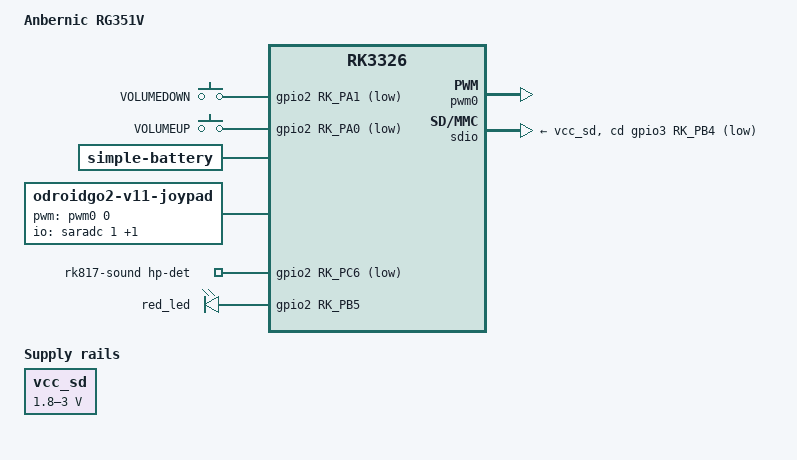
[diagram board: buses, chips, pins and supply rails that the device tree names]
// SPDX-License-Identifier: (GPL-2.0+ OR MIT)
/*
 * Copyright (c) 2019 Hardkernel Co., Ltd
 * Copyright (c) 2020 Theobroma Systems Design und Consulting GmbH
 * Copyright (c) 2022 Maya Matuszczyk <maccraft123mc@gmail.com>
 */

/dts-v1/;
#include "rk3326-odroid-go.dtsi"

/ {
	model = "Anbernic RG351V";
	compatible = "anbernic,rg351v", "rockchip,rk3326";

       aliases {
               mmc0 = &sdio;
               mmc1 = &sdmmc;
       };

        gpio-keys-vol {
                compatible = "gpio-keys";
                autorepeat;
                pinctrl-0 = <&btn_pins_vol>;
                pinctrl-names = "default";

                button-vol-down {
                        gpios = <&gpio2 RK_PA1 GPIO_ACTIVE_LOW>;
                        label = "VOLUMEDOWN";
                        linux,code = <KEY_VOLUMEDOWN>;
                };

                button-volume-up {
                        gpios = <&gpio2 RK_PA0 GPIO_ACTIVE_LOW>;
                        label = "VOLUMEUP";
                        linux,code = <KEY_VOLUMEUP>;
                };
        };

        battery: battery {
               compatible = "simple-battery";
               charge-full-design-microamp-hours = <3500000>;
               charge-term-current-microamp = <350000>;
               constant-charge-current-max-microamp = <2000000>;
               constant-charge-voltage-max-microvolt = <4200000>;
               factory-internal-resistance-micro-ohms = <180000>;
               voltage-max-design-microvolt = <4100000>;
               voltage-min-design-microvolt = <3500000>;

               ocv-capacity-celsius = <20>;
               ocv-capacity-table-0 =  <4046950 100>, <4001920 95>, <3967900 90>, <3919950 85>,
                                       <3888450 80>, <3861850 75>, <3831540 70>, <3799130 65>,
                                       <3768190 60>, <3745650 55>, <3726610 50>, <3711630 45>,
                                       <3696720 40>, <3685660 35>, <3674950 30>, <3663050 25>,
                                       <3649470 20>, <3635260 15>, <3616920 10>, <3592440 5>,
                                       <3574170 0>;
       };

	/* batocera - in-kernel joypad, its pwm0 rumble replaces pwm-vibrator */
	joypad: odroidgo2-joypad {
		compatible = "odroidgo2-v11-joypad";

		/* Added PWM for rumble support with this driver */
		pwms = <&pwm0 0 200000000 0>;		 
		pwm-names = "enable";

		/*
		  - odroidgo2-joypad sysfs list -
		   * for poll device interval(ms)
		   /sys/devices/platform/odroidgo2_joypad/poll_interval [rw]
		   * for button-adc-fuzz
		   /sys/devices/platform/odroidgo2_joypad/adc_fuzz [r]
		   * for button-adc-flat
		   /sys/devices/platform/odroidgo2_joypad/adc_flat [r]
		   * for report control(1:enable, 0:disable)
		   /sys/devices/platform/odroidgo2_joypad/enable [rw]
		   * for adc calibration value setup(1:current adcs value -> cal value)
		   /sys/devices/platform/odroidgo2_joypad/adc_cal [rw]
		*/

		/* gpio pincontrol setup */
		pinctrl-names = "default";
		pinctrl-0 = <&btn_pins>;
		pinctrl-1 = <&pwm0_pin>;

		/* JOY_X, JOY_Y Channel define */
		io-channel-names = "joy_x", "joy_y";
		io-channels = <&saradc 1>, <&saradc 2>;

		/* adc channel count */
		button-adc-count = <2>;

		/* adc calculate scale */
		button-adc-scale = <2>;

		/* adc deadzone range  */
		button-adc-deadzone = <20>;

		/*
		    joy-stick voltage range
		    /sys/devices/platform/ff288000.saradc/iio:device0
		    adc-x : in_voltage1_raw
		    adc-y : in_voltage2_raw

		    range calculate.
		    (adc raw max value - adc raw min value) * scale * 1.7515
		*/
		button-adc-x-range = <1800>;
		button-adc-y-range = <1800>;

		/*
		  specifies fuzz value that is used to filter noise from
		  the event stream.
		*/
		button-adc-fuzz = <32>;
		button-adc-flat = <32>;

		/* poll device interval (ms), adc read interval */
		poll-interval = <10>;

		/* gpio button auto repeat set value : default disable */
		/*
			autorepeat;
		*/

		/*
		    joypad driver is poll-device driver.
		    poll-device is does not support wakeup-source.
		*/
		sw1 {
			gpios = <&gpio1 RK_PB4 GPIO_ACTIVE_LOW>;
			label = "GPIO DPAD-UP";
			linux,code = <BTN_DPAD_UP>; // 0x220
		};
		sw2 {
			gpios = <&gpio1 RK_PB5 GPIO_ACTIVE_LOW>;
			label = "GPIO DPAD-DOWN";
			linux,code = <BTN_DPAD_DOWN>; // 0x221
		};
		sw3 {
			gpios = <&gpio1 RK_PB6 GPIO_ACTIVE_LOW>;
			label = "GPIO DPAD-LEFT";
			linux,code = <BTN_DPAD_LEFT>; // 0x222
		};
		sw4 {
			gpios = <&gpio1 RK_PB7 GPIO_ACTIVE_LOW>;
			label = "GPIO DPAD-RIGHT";
			linux,code = <BTN_DPAD_RIGHT>; // 0x223
		};
		sw5 {
			gpios = <&gpio1 RK_PA2 GPIO_ACTIVE_LOW>;
			label = "GPIO KEY BTN-A";
			linux,code = <BTN_EAST>; // 0x131
		};
		sw6 {
			gpios = <&gpio1 RK_PA5 GPIO_ACTIVE_LOW>;
			label = "GPIO BTN-B";
			linux,code = <BTN_SOUTH>; // 0x130
		};
		sw7 {
			gpios = <&gpio1 RK_PA6 GPIO_ACTIVE_LOW>;
			label = "GPIO BTN-Y";
			linux,code = <BTN_WEST>; // 0x134
		};
		sw8 {
			gpios = <&gpio1 RK_PA7 GPIO_ACTIVE_LOW>;
			label = "GPIO BTN-X";
			linux,code = <BTN_NORTH>; // 0x133
		};
		sw9 {
			gpios = <&gpio3 RK_PB1 GPIO_ACTIVE_LOW>;
			label = "GPIO BTN-SELECT";
			linux,code = <BTN_SELECT>; // 0x2c0
		};
		sw10 {
			gpios = <&gpio2 RK_PA2 GPIO_ACTIVE_LOW>;
			label = "GPIO BTN-THUMBL";
			linux,code = <BTN_THUMBL>; // 0x2c1
		};
		sw13 {
			gpios = <&gpio2 RK_PA4 GPIO_ACTIVE_LOW>;
			label = "GPIO BTN-MODE";
			linux,code = <BTN_MODE>; // 0x2c4
		};
		sw14 {
			gpios = <&gpio2 RK_PA5 GPIO_ACTIVE_LOW>;
			label = "GPIO BTN-START";
			linux,code = <BTN_START>; // 0x13c
		};
		sw15 {
			gpios = <&gpio2 RK_PA6 GPIO_ACTIVE_LOW>;
			label = "GPIO TOP-LEFT";
			linux,code = <BTN_TL>; // 0x02
		};
		sw16 {
			gpios = <&gpio2 RK_PA7 GPIO_ACTIVE_LOW>;
			label = "GPIO TOP-RIGHT";
			linux,code = <BTN_TR>; // 0x05
		};
		sw20 {
			gpios = <&gpio3 RK_PB2 GPIO_ACTIVE_LOW>;
			label = "GPIO TOP-LEFT2";
			linux,code = <BTN_TL2>;
		};
		sw21 {
			gpios = <&gpio3 RK_PB7 GPIO_ACTIVE_LOW>;
			label = "GPIO TOP-RIGHT2";
			linux,code = <BTN_TR2>;
		};
	};
};

/* conflicts with pwm vibration motor */
/delete-node/ &vcc_host;

&red_led {
	gpios = <&gpio2 RK_PB5 GPIO_ACTIVE_HIGH>;
};

&red_led_pin {
	rockchip,pins = <2 RK_PB5 RK_FUNC_GPIO &pcfg_pull_none>;
};

&internal_display {
	compatible = "anbernic,rg351v-panel", "newvision,nv3051d";
	iovcc-supply = <&vcc_lcd>;
	vdd-supply = <&vcc_lcd>;
};

&io_domains {
	vccio1-supply = <&vccio_sd>;
};

/delete-node/ &pwm_led;

&pwm0 {
	status = "okay";
};

/delete-node/ &pwm3;

&rk817_charger {
       /* This device does not have a current sense resistor */
       rockchip,resistor-sense-micro-ohms = <0>;
       monitored-battery = <&battery>;
};

&sdio {
	cap-sd-highspeed;
	card-detect-delay = <200>;
	cd-gpios = <&gpio3 RK_PB4 GPIO_ACTIVE_LOW>; /*[> CD GPIO <]*/
	sd-uhs-sdr12;
	sd-uhs-sdr25;
	sd-uhs-sdr50;
	sd-uhs-sdr104;
	vmmc-supply = <&vcc_sd>;
	vqmmc-supply = <&vccio_sd>;
	status = "okay";
};

&vcc_sd {
	regulator-max-microvolt = <3000000>;
	regulator-min-microvolt = <1800000>;
};

&vccio_sd {
	regulator-max-microvolt = <1800000>;
};

&pinctrl {
        btns {
		/* batocera - joypad pins */
		btn_pins: btn-pins {
			rockchip,pins = <1 RK_PB4 RK_FUNC_GPIO &pcfg_pull_up>,
					<1 RK_PB5 RK_FUNC_GPIO &pcfg_pull_up>,
					<1 RK_PB6 RK_FUNC_GPIO &pcfg_pull_up>,
					<1 RK_PB7 RK_FUNC_GPIO &pcfg_pull_up>,
					<1 RK_PA2 RK_FUNC_GPIO &pcfg_pull_up>,
					<1 RK_PA5 RK_FUNC_GPIO &pcfg_pull_up>,
					<1 RK_PA6 RK_FUNC_GPIO &pcfg_pull_up>,
					<1 RK_PA7 RK_FUNC_GPIO &pcfg_pull_up>,
					<2 RK_PA2 RK_FUNC_GPIO &pcfg_pull_up>,
					<2 RK_PA4 RK_FUNC_GPIO &pcfg_pull_up>,
					<2 RK_PA5 RK_FUNC_GPIO &pcfg_pull_up>,
					<2 RK_PA6 RK_FUNC_GPIO &pcfg_pull_up>,
					<2 RK_PA7 RK_FUNC_GPIO &pcfg_pull_up>,
					<3 RK_PB1 RK_FUNC_GPIO &pcfg_pull_up>,
					<3 RK_PB2 RK_FUNC_GPIO &pcfg_pull_up>,
					<3 RK_PB7 RK_FUNC_GPIO &pcfg_pull_up>;
		};
                btn_pins_vol: btn-pins-vol {
                        rockchip,pins = <2 RK_PA0 RK_FUNC_GPIO &pcfg_pull_up>,
                                        <2 RK_PA1 RK_FUNC_GPIO &pcfg_pull_up>;
                };
        };
};

&rk817 {
	regulators {
		vcc_wifi: LDO_REG9 {
			regulator-name = "vcc_wifi";
			regulator-min-microvolt = <3300000>;
			regulator-max-microvolt = <3300000>;
			regulator-always-on;

			regulator-state-mem {
				regulator-off-in-suspend;
				regulator-suspend-microvolt = <3300000>;
			};
		};
	};
};

/* batocera - headphone detect is active low */
/delete-node/ &{/rk817-sound};

/ {
	rk817-sound {
		compatible = "simple-audio-card";
		simple-audio-card,name = "rk817_int";
		simple-audio-card,format = "i2s";
		simple-audio-card,hp-det-gpios = <&gpio2 RK_PC6 GPIO_ACTIVE_LOW>;
		simple-audio-card,mclk-fs = <256>;
		simple-audio-card,widgets =
			"Microphone", "Mic Jack",
			"Headphone", "Headphones",
			"Speaker", "Speaker";
		simple-audio-card,routing =
			"MICL", "Mic Jack",
			"Headphones", "HPOL",
			"Headphones", "HPOR",
			"Speaker", "SPKO";
		simple-audio-card,codec {
			sound-dai = <&rk817>;
		};
		simple-audio-card,cpu {
			sound-dai = <&i2s1_2ch>;
		};
	};
};
